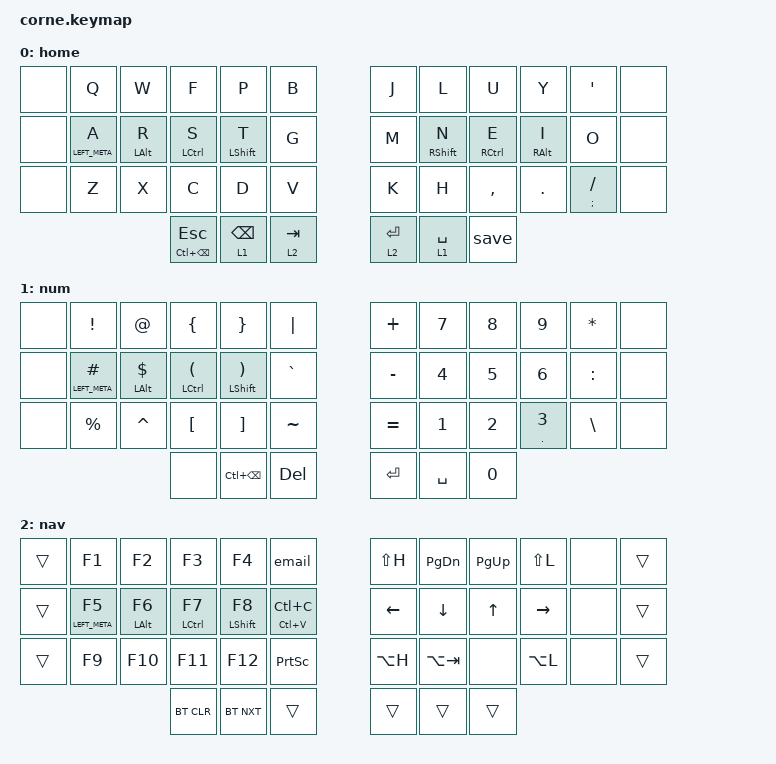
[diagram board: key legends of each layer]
/*
 * Copyright (c) 2020 The ZMK Contributors
 *
 * SPDX-License-Identifier: MIT
 */

#include <behaviors.dtsi>
#include <dt-bindings/zmk/bt.h>
#include <dt-bindings/zmk/keys.h>

/ {
    behaviors {
        /* Homerow modifier behavior settings */
        hm: homerow_mods {
            compatible = "zmk,behavior-hold-tap";
            label = "HOMEROW_MODS";
            bindings = <&kp>, <&kp>;  // Key press bindings
            #binding-cells = <2>;
            tapping-term-ms = <200>;   // Tapping term for hold-tap
            flavor = "tap-preferred";  // Prefer tap over hold
            require-prior-idle-ms = <125>;
            quick-tap-ms = <200>;
        };

        /* Shift hold-tap behavior for homerow */
        shifthr: shifthr {
            compatible = "zmk,behavior-hold-tap";
            label = "SHIFTHR";
            bindings = <&kp>, <&kp>;  // Key press bindings
            #binding-cells = <2>;
            tapping-term-ms = <185>;   // Tapping term for hold-tap
            flavor = "tap-preferred";  // Prefer tap over hold
            quick-tap-ms = <185>;
        };

        /* Weak modifier behavior settings */
        weak: weak {
            compatible = "zmk,behavior-hold-tap";
            label = "WEAK";
            bindings = <&kp>, <&kp>;  // Key press bindings
            #binding-cells = <2>;
            tapping-term-ms = <230>;   // Tapping term for hold-tap
            flavor = "tap-preferred";  // Prefer tap over hold
            require-prior-idle-ms = <125>;
            quick-tap-ms = <230>;
        };

        /* Tap dance behavior for backspace */
        backspace: backspace {
            compatible = "zmk,behavior-tap-dance";
            label = "BACKSPACE";
            #binding-cells = <0>;
            bindings = <&kp BACKSPACE>, <&kp LC(BACKSPACE)>;  // Key press bindings for tap dance
        };
    };

    combos {
        compatible = "zmk,combos";

        /* Caps lock combo */
        caps {
            bindings = <&kp CAPS>;  // Bind caps lock
            key-positions = <16 19>;  // Define key positions for combo
        };

        /* Escape combo */
        jk_fix {
            bindings = <&kp ESCAPE>;  // Bind escape key
            key-positions = <31 32>;  // Define key positions for combo
        };

        /* Underscore combo */
        under {
            bindings = <&kp UNDER>;  // Bind underscore key
            key-positions = <28 31>;  // Define key positions for combo
        };

        /* Dash combo */
        dash {
            bindings = <&kp MINUS>;  // Bind minus key
            key-positions = <4 7>;   // Define key positions for combo
        };
    };

    macros {
        /* Save macro */
        save: save {
            compatible = "zmk,behavior-macro";
            #binding-cells = <0>;
            bindings = <&macro_tap>, <&kp ESCAPE &kp COLON &kp W &kp ENTER>;  // Key sequence for save
            label = "SAVE";
        };

        /* Email macro */
        email: email {
            compatible = "zmk,behavior-macro";
            #binding-cells = <0>;
            bindings = <&none &kp J &kp O &kp S &kp H &kp AT &kp J &kp O &kp S &kp H &kp B &kp L &kp A &kp I &kp S &kp DOT &kp C &kp O &kp M>;  // Key sequence for email
            label = "EMAIL";
        };
    };

    keymap {
        compatible = "zmk,keymap";

        /* Home layer keymap */
        home {
            // -----------------------------------------------------------------------------------------
            // |  TAB |  Q  |  W  |  E  |  R  |  T  |   |  Y  |  U   |  I  |  O  |  P  | BKSP |
            // | CTRL |  A  |  S  |  D  |  F  |  G  |   |  H  |  J   |  K  |  L  |  ;  |  '   |
            // | SHFT |  Z  |  X  |  C  |  V  |  B  |   |  N  |  M   |  ,  |  .  |  /  | ESC  |
            //                    | GUI | LWR | SPC |   | ENT | RSE  | ALT |

            bindings = <
                &none  &kp Q              &kp W             &kp F                     &kp P                  &kp B        &kp J        &kp L              &kp U             &kp Y              &kp APOS             &none
                &none  &weak LEFT_META A  &weak LEFT_ALT R  &shifthr LEFT_CONTROL S   &shifthr LEFT_SHIFT T  &kp G        &kp M        &shifthr RSHIFT N  &shifthr RCTRL E  &weak RIGHT_ALT I  &kp O                &none
                &none  &kp Z              &kp X             &kp C                     &kp D                  &kp V        &kp K        &kp H              &kp COMMA         &kp DOT            &hm SEMICOLON SLASH  &none
                                                &hm LC(BACKSPACE) ESCAPE  &lt 1 BACKSPACE        &lt 2 TAB    &lt 2 ENTER  &lt 1 SPACE        &save
            >;

            label = "home";
        };

        /* Number layer keymap */
        num {
            // -----------------------------------------------------------------------------------------
            // |  TAB |  !  |  @  |  #  |  $  |  %  |   |  ^  |  &  |  *  |  (  |  )  | BKSP |
            // | CTRL |     |     |     |     |     |   |  -  |  =  |  [  |  ]  |  \  |  `   |
            // | SHFT |     |     |     |     |     |   |  _  |  +  |  {  |  }  | "|" |  ~   |
            //                    | GUI |     | SPC |   | ENT |     | ALT |

            bindings = <
                &none  &kp EXCL            &kp AT               &kp LEFT_BRACE              &kp RIGHT_BRACE                   &kp PIPE     &kp PLUS   &kp NUMBER_7  &kp N8        &kp N9                    &kp ASTERISK   &none
                &none  &hm LEFT_META HASH  &hm LEFT_ALT DOLLAR  &hm LCTRL LEFT_PARENTHESIS  &hm LEFT_SHIFT RIGHT_PARENTHESIS  &kp GRAVE    &kp MINUS  &kp NUMBER_4  &kp NUMBER_5  &kp NUMBER_6              &kp COLON      &none
                &none  &kp PERCENT         &kp CARET            &kp LEFT_BRACKET            &kp RIGHT_BRACKET                 &kp TILDE    &kp EQUAL  &kp NUMBER_1  &kp NUMBER_2  &shifthr PERIOD NUMBER_3  &kp BACKSLASH  &none
                                                &none                       &kp LC(BACKSPACE)                 &kp DEL      &kp RET    &kp SPACE     &kp N0
            >;

            label = "num";
        };

        /* Navigation layer keymap */
        nav {
            bindings = <
                &trans  &kp F1            &kp F2           &kp F3        &kp F4             &email             &kp LS(H)       &kp PAGE_DOWN  &kp PG_UP     &kp LS(L)  &none  &trans
                &trans  &hm LEFT_META F5  &hm LEFT_ALT F6  &hm LCTRL F7  &hm LEFT_SHIFT F8  &hm LC(V) LC(C)    &kp LEFT_ARROW  &kp DOWN       &kp UP_ARROW  &kp RIGHT  &none  &trans
                &trans  &kp F9            &kp F10          &kp F11       &kp F12            &kp PSCRN          &kp LA(H)       &kp LA(TAB)    &none         &kp LA(L)  &none  &trans
                                           &bt BT_CLR       &bt BT_NXT     &trans             &trans             &trans          &trans
            >;

            label = "nav";
        };
    };
};
